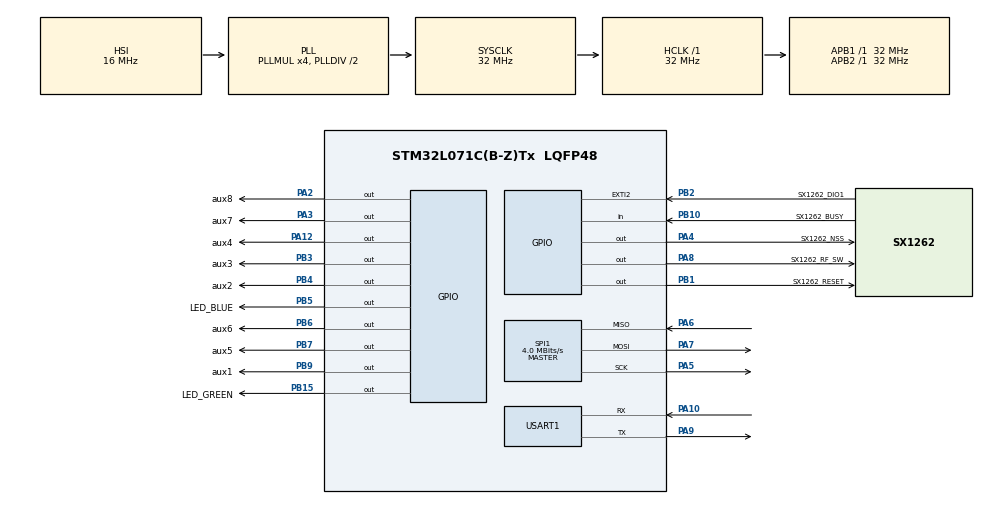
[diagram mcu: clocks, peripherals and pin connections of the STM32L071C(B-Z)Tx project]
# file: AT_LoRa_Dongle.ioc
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Dma.Request0=USART1_RX
Dma.USART1_RX.0.Direction=DMA_PERIPH_TO_MEMORY
Dma.USART1_RX.0.Instance=DMA1_Channel3
Dma.USART1_RX.0.MemDataAlignment=DMA_MDATAALIGN_BYTE
Dma.USART1_RX.0.MemInc=DMA_MINC_ENABLE
Dma.USART1_RX.0.Mode=DMA_NORMAL
Dma.USART1_RX.0.PeriphDataAlignment=DMA_PDATAALIGN_BYTE
Dma.USART1_RX.0.PeriphInc=DMA_PINC_DISABLE
Dma.USART1_RX.0.Priority=DMA_PRIORITY_LOW
FREERTOS.Queues01=queueRadio,16,dataQueue_t,0,Static,queueRadioBuffer,queueRadioControlBlock;queueMain,16,dataQueue_t,0,Static,queueMainBuffer,queueMainControlBlock
FREERTOS.Tasks01=TaskMain,24,600,StartTaskCore,Default,NULL,Static,TaskCoreBuffer,TaskCoreControlBlock;TaskRF,24,450,StartTaskRF,Default,NULL,Static,TaskRFBuffer,TaskRFControlBlock
FREERTOS.configCHECK_FOR_STACK_OVERFLOW=2
FREERTOS.configGENERATE_RUN_TIME_STATS=1
FREERTOS.configMINIMAL_STACK_SIZE=256
FREERTOS.configRECORD_STACK_HIGH_ADDRESS=1
FREERTOS.configTIMER_QUEUE_LENGTH=20
FREERTOS.configTIMER_TASK_PRIORITY=25
FREERTOS.configUSE_NEWLIB_REENTRANT=1
IWDG.Prescaler=IWDG_PRESCALER_32
IWDG.Reload=2500
IWDG.Window=2500
Mcu.Family=STM32L0
Mcu.Name=STM32L071C(B-Z)Tx
Mcu.Package=LQFP48
NVIC.DMA1_Channel2_3_IRQn=true\:3\:0\:false\:false\:true\:true\:false\:true\:true
NVIC.EXTI2_3_IRQn=true\:3\:0\:false\:false\:true\:true\:true\:true\:true
NVIC.USART1_IRQn=true\:3\:0\:false\:false\:true\:true\:true\:true\:true
PA10.Mode=Asynchronous
PA10.Signal=USART1_RX
PA12.GPIO_Label=aux4
PA12.Signal=GPIO_Output
PA13.Mode=Serial_Wire
PA13.Signal=SYS_SWDIO
PA14.Mode=Serial_Wire
PA14.Signal=SYS_SWCLK
PA2.GPIO_Label=aux8
PA2.Signal=GPIO_Output
PA3.GPIO_Label=aux7
PA3.Signal=GPIO_Output
PA4.GPIO_Label=SX1262_NSS
PA4.Signal=GPIO_Output
PA5.Mode=Full_Duplex_Master
PA5.Signal=SPI1_SCK
PA6.Mode=Full_Duplex_Master
PA6.Signal=SPI1_MISO
PA7.Mode=Full_Duplex_Master
PA7.Signal=SPI1_MOSI
PA8.GPIO_Label=SX1262_RF_SW
PA8.Signal=GPIO_Output
PA9.Mode=Asynchronous
PA9.Signal=USART1_TX
PB1.GPIO_Label=SX1262_RESET
PB1.Signal=GPIO_Output
PB10.GPIO_Label=SX1262_BUSY
PB10.Signal=GPIO_Input
PB15.GPIO_Label=LED_GREEN
PB15.Signal=GPIO_Output
PB2.GPIO_Label=SX1262_DIO1
PB2.Signal=GPXTI2
PB3.GPIO_Label=aux3
PB3.Signal=GPIO_Output
PB4.GPIO_Label=aux2
PB4.Signal=GPIO_Output
PB5.GPIO_Label=LED_BLUE
PB5.Signal=GPIO_Output
PB6.GPIO_Label=aux6
PB6.Signal=GPIO_Output
PB7.GPIO_Label=aux5
PB7.Signal=GPIO_Output
PB9.GPIO_Label=aux1
PB9.Signal=GPIO_Output
ProjectManager.HeapSize=0x200
ProjectManager.StackSize=0x400
ProjectManager.TargetToolchain=CMake
RCC.AHBFreq_Value=32000000
RCC.APB1Freq_Value=32000000
RCC.APB1TimFreq_Value=32000000
RCC.APB2Freq_Value=32000000
RCC.APB2TimFreq_Value=32000000
RCC.HCLKFreq_Value=32000000
RCC.HSE_VALUE=8000000
RCC.HSI16_VALUE=16000000
RCC.HSI_VALUE=16000000
RCC.LSE_VALUE=32768
RCC.MSI_VALUE=2097000
RCC.PLLMUL=RCC_PLLMUL_4
RCC.SYSCLKFreq_VALUE=32000000
RCC.SYSCLKSource=RCC_SYSCLKSOURCE_PLLCLK
RCC.VCOOutputFreq_Value=64000000
SPI1.BaudRatePrescaler=SPI_BAUDRATEPRESCALER_8
SPI1.CalculateBaudRate=4.0 MBits/s
SPI1.Direction=SPI_DIRECTION_2LINES
SPI1.Mode=SPI_MODE_MASTER
SPI1.VirtualType=VM_MASTER
USART1.VirtualMode-Asynchronous=VM_ASYNC
VP_FREERTOS_VS_CMSIS_V2.Mode=CMSIS_V2
VP_IWDG_VS_IWDG.Mode=IWDG_Activate
board=custom

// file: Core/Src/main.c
/* USER CODE BEGIN Header */
/**
  ******************************************************************************
  * @file           : main.c
  * @brief          : Main program body
  ******************************************************************************
  * @attention
  *
  * Copyright (c) 2024 STMicroelectronics.
  * All rights reserved.
  *
  * This software is licensed under terms that can be found in the LICENSE file
  * in the root directory of this software component.
  * If no LICENSE file comes with this software, it is provided AS-IS.
  *
  ******************************************************************************
  */
/* USER CODE END Header */
#include "main.h"
#include "cmsis_os.h"
#include "dma.h"
#include "iwdg.h"
#include "spi.h"
#include "usart.h"
#include "gpio.h"

/* USER CODE BEGIN Includes */
#include "AT_cmd.h"
#include "cmsis_os2.h"
#include "hw_config.h"

extern osMessageQueueId_t queueRadioHandle;

#define LOG_TAG "[MAIN]"
#define LOG_LEVEL LOG_LEVEL_VERBOSE
#include "Log.h"
/* USER CODE END Includes */

void SystemClock_Config(void);
void MX_FREERTOS_Init(void);

/* USER CODE BEGIN 0 */

/**
 * @brief
 *
 * @param huart
 * @param Size
 */
void HAL_UARTEx_RxEventCallback(UART_HandleTypeDef *huart, uint16_t Size)
{
    UNUSED(huart);
    AT_HandleATCommand(Size);
}

/**
 * @brief
 *
 * @param huart
 * @param Size
 */
void HAL_UART_ErrorCallback(UART_HandleTypeDef *huart)
{
    UNUSED(huart);
    AT_HandleUartError();
}

void HAL_GPIO_EXTI_Callback(uint16_t GPIO_Pin)
{
  dataQueue_t txm;
	txm.ptr = NULL;
  BaseType_t xHigherPriorityTaskWoken;

  if(GPIO_Pin == SX1262_DIO1_Pin)
  {
      txm.cmd = CMD_RF_IRQ_FIRED;

      xQueueSendFromISR(queueRadioHandle,&txm,&xHigherPriorityTaskWoken );
  }

  if( xHigherPriorityTaskWoken )
  {
      /* Actual macro used here is port specific. */
      portYIELD_FROM_ISR (xHigherPriorityTaskWoken);
  }
}

static void PrintAppInfo(void)
{
	printf("\n");
	printf("==========================================================\n");
	printf("              AT-USB LoRa Dongle\n");
	printf("==========================================================\n");
	printf("  Device:    %s\n", FW_DEVICE_NAME);
	printf("  Firmware:  v%d.%d.%d\n", FW_VERSION_MAJOR, FW_VERSION_MINOR, FW_VERSION_PATCH);
	printf("  Hardware:  %s %s %s\n", HW_RF_FREQ_BAND, HW_RF_OSC_TYPE, HW_BOARD_VERSION_STRING);
	printf("==========================================================\n");
	printf("\n");
}
/* USER CODE END 0 */

int main(void)
{

  /* USER CODE BEGIN 1 */
#ifdef STOP_IWDG_IN_DEBUG
  // Stop IWDG when core is halted during debug (breakpoint)
  __HAL_RCC_DBGMCU_CLK_ENABLE();
  __HAL_DBGMCU_FREEZE_IWDG();
#endif
  /* USER CODE END 1 */

  /* MCU Configuration--------------------------------------------------------*/

  /* Reset of all peripherals, Initializes the Flash interface and the Systick. */
  HAL_Init();

  /* Configure the system clock */
  SystemClock_Config();

  /* Initialize all configured peripherals */
  MX_GPIO_Init();
  HW_GPIO_PostInit();  // Board-specific GPIO initialization
  MX_DMA_Init();
  MX_USART1_UART_Init();
  MX_SPI1_Init();
  MX_IWDG_Init();
  /* USER CODE BEGIN 2 */

  LOG_Initialise();
  PrintAppInfo();

  /* USER CODE END 2 */

  /* Init scheduler */
  osKernelInitialize();

  /* Call init function for freertos objects (in cmsis_os2.c) */
  MX_FREERTOS_Init();

  /* Start scheduler */
  osKernelStart();

  /* We should never get here as control is now taken by the scheduler */

  /* Infinite loop */
  while (1)
  {

  }
}

void SystemClock_Config(void)
{
  RCC_OscInitTypeDef RCC_OscInitStruct = {0};
  RCC_ClkInitTypeDef RCC_ClkInitStruct = {0};
  RCC_PeriphCLKInitTypeDef PeriphClkInit = {0};

  /** Configure the main internal regulator output voltage
  */
  __HAL_PWR_VOLTAGESCALING_CONFIG(PWR_REGULATOR_VOLTAGE_SCALE1);

  /** Initializes the RCC Oscillators according to the specified parameters
  * in the RCC_OscInitTypeDef structure.
  */
  RCC_OscInitStruct.OscillatorType = RCC_OSCILLATORTYPE_HSI|RCC_OSCILLATORTYPE_LSI;
  RCC_OscInitStruct.HSIState = RCC_HSI_ON;
  RCC_OscInitStruct.HSICalibrationValue = RCC_HSICALIBRATION_DEFAULT;
  RCC_OscInitStruct.LSIState = RCC_LSI_ON;
  RCC_OscInitStruct.PLL.PLLState = RCC_PLL_ON;
  RCC_OscInitStruct.PLL.PLLSource = RCC_PLLSOURCE_HSI;
  RCC_OscInitStruct.PLL.PLLMUL = RCC_PLLMUL_4;
  RCC_OscInitStruct.PLL.PLLDIV = RCC_PLLDIV_2;
  if (HAL_RCC_OscConfig(&RCC_OscInitStruct) != HAL_OK)
  {
    Error_Handler();
  }

  /** Initializes the CPU, AHB and APB buses clocks
  */
  RCC_ClkInitStruct.ClockType = RCC_CLOCKTYPE_HCLK|RCC_CLOCKTYPE_SYSCLK
                              |RCC_CLOCKTYPE_PCLK1|RCC_CLOCKTYPE_PCLK2;
  RCC_ClkInitStruct.SYSCLKSource = RCC_SYSCLKSOURCE_PLLCLK;
  RCC_ClkInitStruct.AHBCLKDivider = RCC_SYSCLK_DIV1;
  RCC_ClkInitStruct.APB1CLKDivider = RCC_HCLK_DIV1;
  RCC_ClkInitStruct.APB2CLKDivider = RCC_HCLK_DIV1;

  if (HAL_RCC_ClockConfig(&RCC_ClkInitStruct, FLASH_LATENCY_1) != HAL_OK)
  {
    Error_Handler();
  }
  PeriphClkInit.PeriphClockSelection = RCC_PERIPHCLK_USART1;
  PeriphClkInit.Usart1ClockSelection = RCC_USART1CLKSOURCE_PCLK2;
  if (HAL_RCCEx_PeriphCLKConfig(&PeriphClkInit) != HAL_OK)
  {
    Error_Handler();
  }
}

void Error_Handler(void)
{
 _exit(-1);
  /* USER CODE END Error_Handler_Debug */
}

#ifdef  USE_FULL_ASSERT
/**
  * @brief  Reports the name of the source file and the source line number
  *         where the assert_param error has occurred.
  * @param  file: pointer to the source file name
  * @param  line: assert_param error line source number
  * @retval None
  */
void assert_failed(uint8_t *file, uint32_t line)
{
  /* USER CODE BEGIN 6 */
  (void)file;
  (void)line;
  /* User can add his own implementation to report the file name and line number,
     ex: printf("Wrong parameters value: file %s on line %d\r\n", file, line) */
  /* USER CODE END 6 */
}
#endif /* USE_FULL_ASSERT */

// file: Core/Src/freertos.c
/* USER CODE BEGIN Header */
/**
  ******************************************************************************
  * File Name          : freertos.c
  * Description        : Code for freertos applications
  ******************************************************************************
  * @attention
  *
  * Copyright (c) 2024 STMicroelectronics.
  * All rights reserved.
  *
  * This software is licensed under terms that can be found in the LICENSE file
  * in the root directory of this software component.
  * If no LICENSE file comes with this software, it is provided AS-IS.
  *
  ******************************************************************************
  */
/* USER CODE END Header */

#include "FreeRTOS.h"
#include "task.h"
#include "main.h"
#include "cmsis_os.h"

/* USER CODE BEGIN Includes */
#include "RF_Task.h"
#include "Main_task.h"
/* USER CODE END Includes */

typedef StaticTask_t osStaticThreadDef_t;
typedef StaticQueue_t osStaticMessageQDef_t;

/* Definitions for TaskMain */
osThreadId_t TaskMainHandle;
uint32_t TaskCoreBuffer[ 600 ];
osStaticThreadDef_t TaskCoreControlBlock;
const osThreadAttr_t TaskMain_attributes = {
  .name = "TaskMain",
  .cb_mem = &TaskCoreControlBlock,
  .cb_size = sizeof(TaskCoreControlBlock),
  .stack_mem = &TaskCoreBuffer[0],
  .stack_size = sizeof(TaskCoreBuffer),
  .priority = (osPriority_t) osPriorityNormal,
};
/* Definitions for TaskRF */
osThreadId_t TaskRFHandle;
uint32_t TaskRFBuffer[ 450 ];
osStaticThreadDef_t TaskRFControlBlock;
const osThreadAttr_t TaskRF_attributes = {
  .name = "TaskRF",
  .cb_mem = &TaskRFControlBlock,
  .cb_size = sizeof(TaskRFControlBlock),
  .stack_mem = &TaskRFBuffer[0],
  .stack_size = sizeof(TaskRFBuffer),
  .priority = (osPriority_t) osPriorityNormal,
};
/* Definitions for queueRadio */
osMessageQueueId_t queueRadioHandle;
uint8_t queueRadioBuffer[ 16 * sizeof( dataQueue_t ) ];
osStaticMessageQDef_t queueRadioControlBlock;
const osMessageQueueAttr_t queueRadio_attributes = {
  .name = "queueRadio",
  .cb_mem = &queueRadioControlBlock,
  .cb_size = sizeof(queueRadioControlBlock),
  .mq_mem = &queueRadioBuffer,
  .mq_size = sizeof(queueRadioBuffer)
};
/* Definitions for queueMain */
osMessageQueueId_t queueMainHandle;
uint8_t queueMainBuffer[ 16 * sizeof( dataQueue_t ) ];
osStaticMessageQDef_t queueMainControlBlock;
const osMessageQueueAttr_t queueMain_attributes = {
  .name = "queueMain",
  .cb_mem = &queueMainControlBlock,
  .cb_size = sizeof(queueMainControlBlock),
  .mq_mem = &queueMainBuffer,
  .mq_size = sizeof(queueMainBuffer)
};

void StartTaskCore(void *argument);
void StartTaskRF(void *argument);

void MX_FREERTOS_Init(void); /* (MISRA C 2004 rule 8.1) */

/* Hook prototypes */
void configureTimerForRunTimeStats(void);
unsigned long getRunTimeCounterValue(void);
void vApplicationStackOverflowHook(xTaskHandle xTask, signed char *pcTaskName);

/* USER CODE BEGIN 1 */
/* Functions needed when configGENERATE_RUN_TIME_STATS is on */
__weak void configureTimerForRunTimeStats(void)
{

}

__weak unsigned long getRunTimeCounterValue(void)
{
return 0;
}
/* USER CODE END 1 */

/* USER CODE BEGIN 4 */
void vApplicationStackOverflowHook(xTaskHandle xTask, signed char *pcTaskName)
{
  UNUSED(xTask);
  UNUSED(pcTaskName);
   /* Run time stack overflow checking is performed if
   configCHECK_FOR_STACK_OVERFLOW is defined to 1 or 2. This hook function is
   called if a stack overflow is detected. */
}
/* USER CODE END 4 */

void MX_FREERTOS_Init(void) {

  /* Create the queue(s) */
  /* creation of queueRadio */
  queueRadioHandle = osMessageQueueNew (16, sizeof(dataQueue_t), &queueRadio_attributes);

  /* creation of queueMain */
  queueMainHandle = osMessageQueueNew (16, sizeof(dataQueue_t), &queueMain_attributes);

  /* Create the thread(s) */
  /* creation of TaskMain */
  TaskMainHandle = osThreadNew(StartTaskCore, NULL, &TaskMain_attributes);

  /* creation of TaskRF */
  TaskRFHandle = osThreadNew(StartTaskRF, NULL, &TaskRF_attributes);

}

void StartTaskCore(void *argument)
{
  /* USER CODE BEGIN StartTaskCore */
  /* Infinite loop */
  UNUSED(argument);
  main_task();
  for(;;)
  {
    osDelay(1);
  }
  /* USER CODE END StartTaskCore */
}

void StartTaskRF(void *argument)
{
  /* USER CODE BEGIN StartTaskRF */
  UNUSED(argument);
  radio_task();
  /* Infinite loop */
  for(;;)
  {
    osDelay(1);
  }
  /* USER CODE END StartTaskRF */
}
